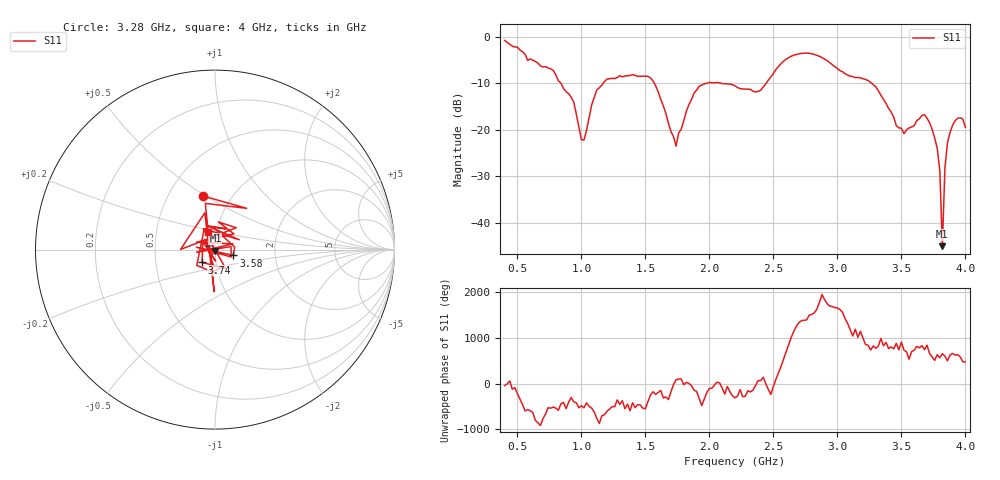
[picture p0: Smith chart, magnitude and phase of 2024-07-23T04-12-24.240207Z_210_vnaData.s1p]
!Created with skrf (http://scikit-rf.org).
# Hz S RI R 50.0
!freq ReS11 ImS11
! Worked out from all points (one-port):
!   181 points, 400 MHz to 4 GHz, reference 50 ohm
!   lowest |S11| = -45.1 dB at 3.82 GHz (marker M1), VSWR 1.01, Z = 50.2 - j0.515 ohm
!   |S11| at or under -10 dB: 1.57 GHz to 1.981 GHz (411.3 MHz wide, 23.2 % of centre); 2.092 GHz to 2.443 GHz (350.8 MHz wide, 15.5 % of centre); 3.268 GHz to end of sweep (the widest 3 of 4)
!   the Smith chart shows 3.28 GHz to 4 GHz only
!   S11 on the Smith chart (normalised r, x): 3.28 GHz: 0.74, +0.49; 3.58 GHz: 1.22, -0.08; 3.74 GHz: 0.86, -0.12; 4 GHz: 0.90, +0.18
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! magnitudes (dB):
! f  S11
! 400 MHz  -0.8
! 780 MHz  -7.2
! 860 MHz  -11.1
! 940 MHz  -14.0
! 1 GHz  -22.1
! 1.02 GHz  -22.2
! 1.12 GHz  -11.4
! 1.3 GHz  -8.4
! 1.54 GHz  -8.8
! 1.74 GHz  -23.5
! 1.76 GHz  -20.7
! 1.92 GHz  -10.7
! 2.2 GHz  -10.6
! 2.4 GHz  -11.5
! 2.66 GHz  -3.9
! 3.1 GHz  -8.5
! 3.28 GHz  -10.3
! 3.46 GHz  -19.1
! 3.56 GHz  -19.6
! 3.58 GHz  -19.4
! 3.68 GHz  -16.7
! 3.74 GHz  -19.9
! 3.8 GHz  -28.7
! 3.82 GHz  -45.1
! 3.84 GHz  -28.3
! 3.86 GHz  -22.8
! 3.94 GHz  -17.5
! 4 GHz  -19.5
